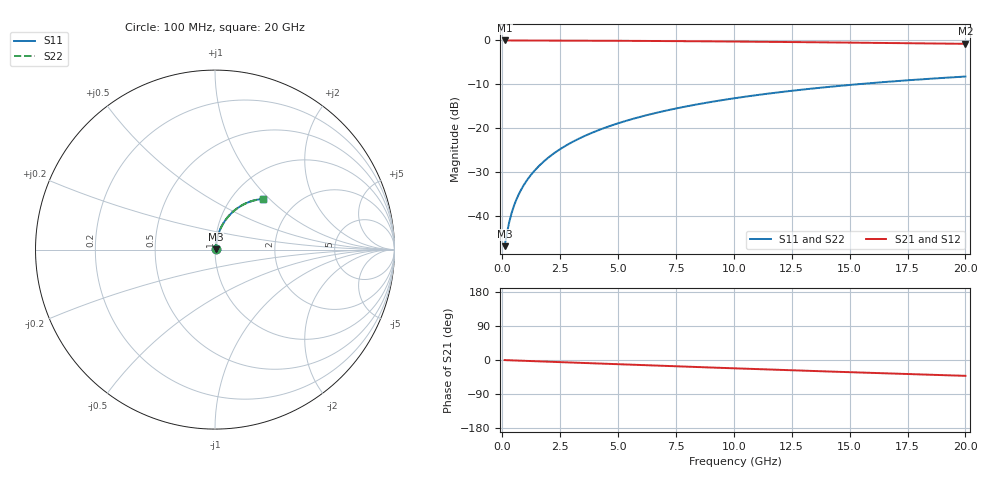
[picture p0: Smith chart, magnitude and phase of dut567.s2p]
! Touchstone file exported from HFSS 2026.1.0
!  File:  C:/ffzhzh/LocalFiles/Ansys_Project_Files/temp_train_BSMRDL_567_1783015444_46388.aedt
!  Generated:  02:05:25 AM Jul  3, 2026
!  Design:  BSMRDL
!  Project:  temp_train_BSMRDL_567_1783015444_46388
! Variables:
!  h_bsmrdl = 2.31um
!  h_ox = 20um
!  h_rdl = 5um
!  h_sub = 80um
!  h_tmrdl = 5um
!  h_tsv = 80um
!  h_via = 3um
!  l_bsmrdl = 589.38um
!  l_sub = 989.38um
!  l_tmrdl = 200um
!  m_sub = 200um
!  pitch = 55.23um
!  r_tsv = 6um
!  s_tmrdl = 10um
!  w_bsmrdl = 26.34um
!  w_sub = 500um
!  w_tmrdl = 12um
!  x_tsv_center1 = 206um
!  x_tsv_center2 = 821.72um
!  x_tsv_center3 = 1033.72um
!  x_tsv_center4 = 1649.44um
!  x_tsv_center5 = 1861.44um
!  x_tsv_center6 = 2477.16um
# GHz S MA R 50.000000
! Terminal data exported
! Port[1] = BSM_RDL1_1_T1
! Port[2] = BSM_RDL1_1_T2
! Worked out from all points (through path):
!   200 points, 100 MHz to 20 GHz, reference 50 ohm
!   highest |S21| = -0.03 dB at 100 MHz (marker M1); lowest = -0.8 dB at 20 GHz (marker M2)
!   group delay of S21, straight-line fit = 5.81 ps
!   lowest |S11| = -46.8 dB at 100 MHz (marker M3), VSWR 1.01, Z = 50.4 + j0.257 ohm
!   |S11| at or under -10 dB: start of sweep to 15.34 GHz
!   |S22| runs from -46.8 to -8.2 dB; largest |S21 - S12| = 2.6e-15
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0.1  0.004549 34.1  0.9962 -0.2  0.9962 -0.2  0.004549 34.1
! Gamma 0 0 0 0
! Port Impedance 50 0 50 0
0.2  0.006396 52.1  0.9961 -0.5  0.9961 -0.5  0.006396 52.1
0.3  0.008552 61.0  0.9959 -0.7  0.9959 -0.7  0.008552 61.0
0.4  0.01078 66.0  0.9957 -0.9  0.9957 -0.9  0.01078 66.0
0.5  0.01301 69.1  0.9955 -1.2  0.9955 -1.2  0.01301 69.1
0.6  0.01524 71.3  0.9954 -1.4  0.9954 -1.4  0.01524 71.3
0.8  0.01967 74.2  0.9951 -1.8  0.9951 -1.8  0.01967 74.2
1.1  0.02635 76.7  0.9947 -2.5  0.9947 -2.5  0.02635 76.7
1.3  0.03082 77.7  0.9945 -2.9  0.9945 -2.9  0.03082 77.7
1.6  0.03755 78.6  0.9942 -3.6  0.9942 -3.6  0.03755 78.6
2.1  0.04882 79.1  0.9936 -4.7  0.9936 -4.7  0.04882 79.1
2.7  0.06235 79.0  0.9927 -6.1  0.9927 -6.1  0.06235 79.0
3.5  0.08035 78.2  0.9913 -7.8  0.9913 -7.8  0.08035 78.2
4.2  0.09601 77.2  0.9897 -9.4  0.9897 -9.4  0.096 77.2
5  0.1137 75.9  0.9877 -11.1  0.9877 -11.1  0.1137 75.9
5.9  0.1334 74.3  0.985 -13.1  0.985 -13.1  0.1334 74.3
6.8  0.1528 72.5  0.9819 -15.1  0.9819 -15.1  0.1528 72.5
8.3  0.1844 69.6  0.9761 -18.3  0.9761 -18.3  0.1844 69.6
10.1  0.2208 65.9  0.968 -22.1  0.968 -22.1  0.2208 66.0
13.4  0.2828 59.3  0.9508 -29.0  0.9508 -29.0  0.2828 59.4
16.7  0.3384 52.9  0.9318 -35.5  0.9318 -35.5  0.3383 53.0
20  0.3871 46.8  0.9122 -41.8  0.9122 -41.8  0.3871 46.9
